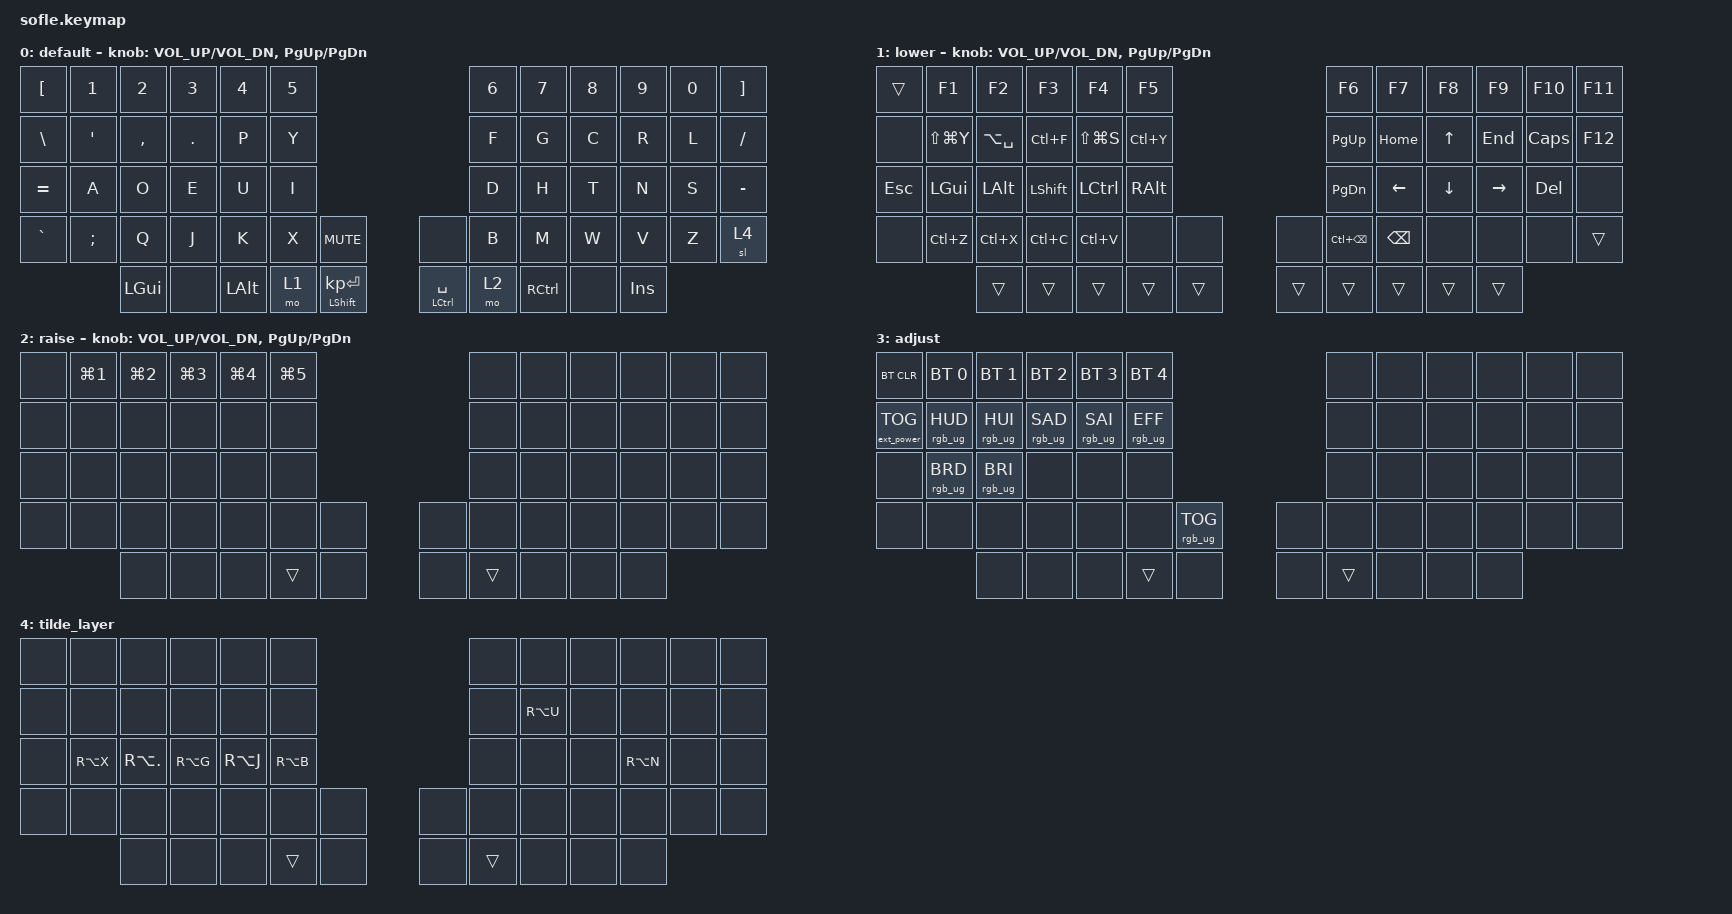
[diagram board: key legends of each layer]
/*
 * Copyright (c) 2020 The ZMK Contributors
 *
 * SPDX-License-Identifier: MIT
 */

#include <behaviors.dtsi>
#include <dt-bindings/zmk/bt.h>
#include <dt-bindings/zmk/ext_power.h>
#include <dt-bindings/zmk/keys.h>
#include <dt-bindings/zmk/rgb.h>

#define BASE 0
#define LOWER 1
#define RAISE 2
#define ADJUST 3

/ {
    // Activate ADJUST layer by pressing raise and lower

    conditional_layers {
        compatible = "zmk,conditional-layers";

        adjust_layer {
            if-layers = <1 2>;
            then-layer = <3>;
        };
    };

    keymap {
        compatible = "zmk,keymap";

        default_layer {
            display-name = "default";

            // ------------------------------------------------------------------------------------------------------------
            // |   `   |  1  |  2  |  3   |  4   |  5   |                   |  6   |  7    |  8    |  9   |   0   |       |
            // |  ESC  |  Q  |  W  |  E   |  R   |  T   |                   |  Y   |  U    |  I    |  O   |   P   | BKSPC |
            // |  TAB  |  A  |  S  |  D   |  F   |  G   |                   |  H   |  J    |  K    |  L   |   ;   |   '   |
            // | SHIFT |  Z  |  X  |  C   |  V   |  B   |  MUTE  |  |       |  N   |  M    |  ,    |  .   |   /   | SHIFT |
            //               | GUI | ALT  | CTRL | LOWER|  ENTER |  | SPACE | RAISE| CTRL  | ALT   | GUI  |

            bindings = <
&kp LBKT   &kp N1    &kp N2     &kp N3   &kp N4    &kp N5                                          &kp N6  &kp N7     &kp N8  &kp N9   &kp N0  &kp RBKT
&kp BSLH   &kp APOS  &kp COMMA  &kp DOT  &kp P     &kp Y                                           &kp F   &kp G      &kp C   &kp R    &kp L   &kp SLASH
&kp EQUAL  &kp A     &kp O      &kp E    &kp U     &kp I                                           &kp D   &kp H      &kp T   &kp N    &kp S   &kp MINUS
&kp GRAVE  &kp SEMI  &kp Q      &kp J    &kp K     &kp X   &kp C_MUTE             &none            &kp B   &kp M      &kp W   &kp V    &kp Z   &sl 4
                     &kp LGUI   &none    &kp LALT  &mo 1   &mt LSHIFT KP_ENTER    &mt LCTRL SPACE  &mo 2   &kp RCTRL  &none   &kp INS
            >;

            sensor-bindings = <&inc_dec_kp C_VOL_UP C_VOL_DN &inc_dec_kp PG_UP PG_DN>;
        };

        lower_layer {
            display-name = "lower";

            // TODO: Some binds are waiting for shifted keycode support.
            // ------------------------------------------------------------------------------------------------------------
            // |       |  F1 |  F2 |  F3  |  F4  |  F5  |                   |  F6  |  F7   |  F8   |  F9  |  F10  |  F11  |
            // |   `   |  1  |  2  |  3   |  4   |  5   |                   |  6   |  7    |  8    |  9   |   0   |  F12  |
            // |       |  !  |  @  |  #   |  $   |  %   |                   |  ^   |  &    |  *    |  (   |   )   |   |   |
            // |       |  =  |  -  |  +   |  {   |  }   |        |  |       |  [   |  ]    |  ;    |  :   |   \   |       |
            //               |     |      |      |      |        |  |       |      |       |       |      |

            bindings = <
&trans   &kp F1         &kp F2         &kp F3     &kp F4         &kp F5                       &kp F6         &kp F7    &kp F8    &kp F9     &kp F10   &kp F11
&none    &kp LS(LG(Y))  &kp LA(SPACE)  &kp LC(F)  &kp LS(LG(S))  &kp LC(Y)                    &kp PG_UP      &kp HOME  &kp UP    &kp END    &kp CAPS  &kp F12
&kp ESC  &kp LEFT_GUI   &kp LEFT_ALT   &kp LSHFT  &kp LCTRL      &kp RALT                     &kp PAGE_DOWN  &kp LEFT  &kp DOWN  &kp RIGHT  &kp DEL   &none
&none    &kp LC(Z)      &kp LC(X)      &kp LC(C)  &kp LC(V)      &none      &none     &none   &kp LC(BSPC)   &kp BSPC  &none     &none      &none     &trans
                        &trans         &trans     &trans         &trans     &trans    &trans  &trans         &trans    &trans    &trans
            >;

            sensor-bindings = <&inc_dec_kp C_VOL_UP C_VOL_DN &inc_dec_kp PG_UP PG_DN>;
        };

        raise_layer {
            display-name = "raise";

            // ------------------------------------------------------------------------------------------------------------
            // | BTCLR | BT1  | BT2  |  BT3  |  BT4  |  BT5 |                |      |      |       |      |       |       |
            // |       | INS  | PSCR | GUI   |       |      |                | PGUP |      |   ^   |      |       |       |
            // |       | ALT  | CTRL | SHIFT |       | CAPS |                | PGDN |   <- |   v   |  ->  |  DEL  | BKSPC |
            // |       | UNDO | CUT  | COPY  | PASTE |      |      |  |      |      |      |       |      |       |       |
            //                |      |       |       |      |      |  |      |      |      |       |      |

            bindings = <
&none  &kp LG(N1)  &kp LG(NUMBER_2)  &kp LG(NUMBER_3)  &kp LG(NUMBER_4)  &kp LG(NUMBER_5)                  &none   &none  &none  &none  &none  &none
&none  &none       &none             &none             &none             &none                             &none   &none  &none  &none  &none  &none
&none  &none       &none             &none             &none             &none                             &none   &none  &none  &none  &none  &none
&none  &none       &none             &none             &none             &none             &none    &none  &none   &none  &none  &none  &none  &none
                   &none             &none             &none             &trans            &none    &none  &trans  &none  &none  &none
            >;

            sensor-bindings = <&inc_dec_kp C_VOL_UP C_VOL_DN &inc_dec_kp PG_UP PG_DN>;
        };

        adjust_layer {
            // ----------------------------------------------------------------------------------------------------------------------------
            // | BTCLR  |  BT1    |  BT2    |   BT3   |   BT4   |   BT5   |                  |      |      |       |      |       |       |
            // | EXTPWR | RGB_HUD | RGB_HUI | RGB_SAD | RGB_SAI | RGB_EFF |                  |      |      |       |      |       |       |
            // |        | RGB_BRD | RGB_BRI |         |         |         |                  |      |      |       |      |       |       |
            // |        |         |         |         |         |         | RGB_TOG | |      |      |      |       |      |       |       |
            //                    |         |         |         |         |         | |      |      |      |       |      |

            display-name = "adjust";
            bindings = <
&bt BT_CLR         &bt BT_SEL 0     &bt BT_SEL 1     &bt BT_SEL 2     &bt BT_SEL 3     &bt BT_SEL 4                               &none   &none  &none  &none  &none  &none
&ext_power EP_TOG  &rgb_ug RGB_HUD  &rgb_ug RGB_HUI  &rgb_ug RGB_SAD  &rgb_ug RGB_SAI  &rgb_ug RGB_EFF                            &none   &none  &none  &none  &none  &none
&none              &rgb_ug RGB_BRD  &rgb_ug RGB_BRI  &none            &none            &none                                      &none   &none  &none  &none  &none  &none
&none              &none            &none            &none            &none            &none            &rgb_ug RGB_TOG    &none  &none   &none  &none  &none  &none  &none
                                    &none            &none            &none            &trans           &none              &none  &trans  &none  &none  &none
            >;
        };

        tilde_layer {
            bindings = <
&none  &none      &none        &none      &none      &none                      &none   &none      &none  &none      &none  &none
&none  &none      &none        &none      &none      &none                      &none   &kp RA(U)  &none  &none      &none  &none
&none  &kp RA(X)  &kp RA(DOT)  &kp RA(G)  &kp RA(J)  &kp RA(B)                  &none   &none      &none  &kp RA(N)  &none  &none
&none  &none      &none        &none      &none      &none      &none    &none  &none   &none      &none  &none      &none  &none
                  &none        &none      &none      &trans     &none    &none  &trans  &none      &none  &none
            >;
        };
    };
};
